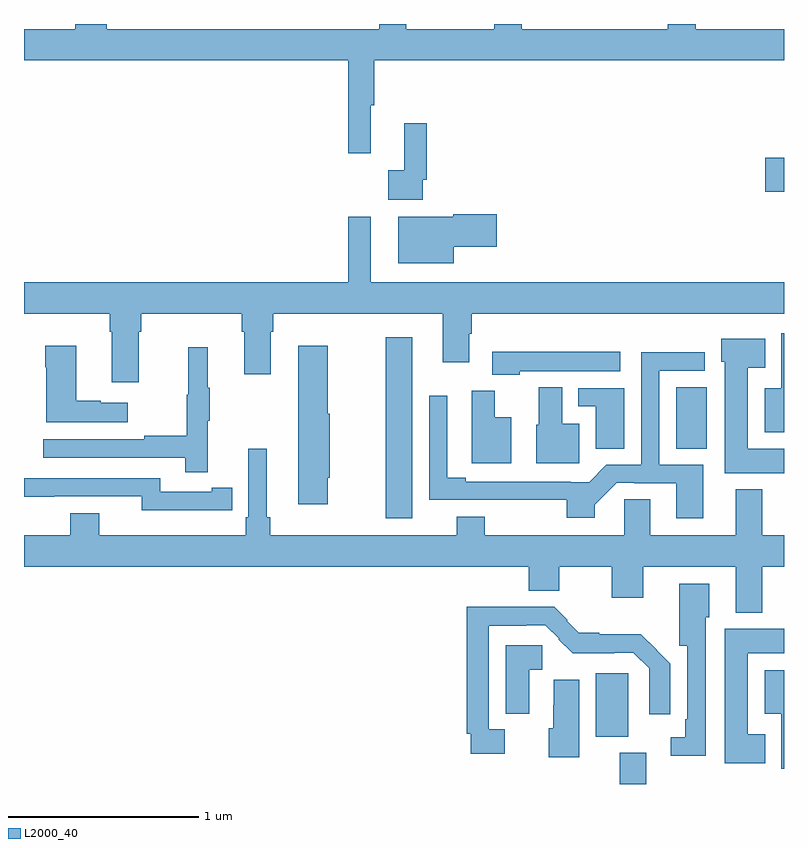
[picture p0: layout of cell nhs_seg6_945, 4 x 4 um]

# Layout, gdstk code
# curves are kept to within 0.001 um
import gdstk
lib = gdstk.Library(unit=1e-6, precision=1e-09)
def R(c, l, rs):  # rectangles x0, y0, x1, y1
    for r in rs: c.add(gdstk.rectangle(r[:2], r[2:], *l))
def P(c, l, *ps):  # polygons
    for p in ps: c.add(gdstk.Polygon(p, *l))
L2000_40 = (2000, 40)

nhs_seg6_945 = lib.new_cell('nhs_seg6_945')
R(nhs_seg6_945, L2000_40, [(172.136,971.5,172.276,971.665), (172.01,971.75,172.18,972.084), (170.905,972.9,171.043,973.852), (172.433,973.264,172.594,973.589), (172.902,974.617,173,974.795)])
P(nhs_seg6_945, L2000_40, [(170.825,975.072),(170.843,975.072),(170.843,975.308),(173,975.308),(173,975.472),(172.536,975.472),(172.536,975.5),(172.388,975.5),(172.388,975.472),(171.621,975.472),(171.621,975.5),(171.474,975.5),(171.474,975.472),(171.012,975.472),(171.012,975.5),(170.87,975.5),(170.87,975.472),(169.435,975.472),(169.435,975.5),(169.271,975.5),(169.271,975.472),(169,975.472),(169,975.308),(170.707,975.308),(170.707,974.82),(170.825,974.82)],
  [(171.099,974.68),(171.119,974.68),(171.119,974.977),(171.002,974.977),(171.002,974.729),(170.916,974.729),(170.916,974.576),(171.099,974.576)],
  [(171.262,974.327),(171.487,974.327),(171.487,974.498),(171.258,974.498),(171.258,974.485),(170.969,974.485),(170.969,974.24),(171.262,974.24)],
  [(169.603,973.88),(169.616,973.88),(169.616,973.976),(170.147,973.976),(170.147,973.88),(170.159,973.88),(170.159,973.656),(170.299,973.656),(170.299,973.88),(170.312,973.88),(170.312,973.976),(171.203,973.976),(171.203,973.719),(171.343,973.719),(171.343,973.87),(171.356,973.87),(171.356,973.976),(173,973.976),(173,974.14),(170.824,974.14),(170.824,974.485),(170.707,974.485),(170.707,974.14),(169,974.14),(169,973.976),(169.451,973.976),(169.451,973.88),(169.463,973.88),(169.463,973.614),(169.603,973.614)],
  [(173,973.873),(172.985,973.873),(172.985,973.582),(172.898,973.582),(172.898,973.352),(173,973.352)],
  [(173,973.264),(172.81,973.264),(172.81,973.691),(172.9,973.691),(172.9,973.843),(172.67,973.843),(172.67,973.722),(172.688,973.722),(172.688,973.136),(173,973.136)],
  [(169.546,973.507),(169.403,973.507),(169.403,973.517),(169.276,973.517),(169.276,973.807),(169.111,973.807),(169.111,973.694),(169.118,973.694),(169.118,973.403),(169.546,973.403)],
  [(170.598,973.113),(170.608,973.113),(170.608,973.449),(170.598,973.449),(170.598,973.807),(170.444,973.807),(170.444,972.972),(170.598,972.972)],
  [(169.967,973.411),(169.978,973.411),(169.978,973.585),(169.967,973.585),(169.967,973.798),(169.864,973.798),(169.864,973.548),(169.857,973.548),(169.857,973.334),(169.633,973.334),(169.633,973.314),(169.101,973.314),(169.101,973.218),(169.849,973.218),(169.849,973.14),(169.967,973.14)],
  [(171.609,973.673),(172.138,973.673),(172.138,973.774),(171.465,973.774),(171.465,973.655),(171.609,973.655)],
  [(172.576,973.179),(172.344,973.179),(172.344,973.674),(172.582,973.674),(172.582,973.772),(172.248,973.772),(172.248,973.179),(172.064,973.179),(171.974,973.089),(171.878,973.089),(171.878,973.092),(171.325,973.092),(171.325,973.112),(171.228,973.112),(171.228,973.543),(171.132,973.543),(171.132,972.996),(171.856,972.995),(171.856,972.902),(172.003,972.902),(172.003,972.97),(172.119,973.086),(172.213,973.086),(172.213,973.083),(172.433,973.083),(172.433,972.9),(172.576,972.9)],
  [(171.922,973.396),(171.832,973.396),(171.832,973.588),(171.71,973.588),(171.71,973.392),(171.695,973.392),(171.695,973.187),(171.922,973.187)],
  [(172.159,973.584),(171.917,973.584),(171.917,973.488),(172.01,973.488),(172.01,973.264),(172.159,973.264)],
  [(171.565,973.429),(171.478,973.429),(171.478,973.57),(171.356,973.57),(171.356,973.187),(171.565,973.187)],
  [(172.885,972.644),(173,972.644),(173,972.808),(172.885,972.808),(172.885,973.051),(172.745,973.051),(172.745,972.808),(172.297,972.808),(172.297,972.998),(172.158,972.998),(172.158,972.808),(171.426,972.808),(171.426,972.907),(171.278,972.907),(171.278,972.808),(170.297,972.808),(170.297,972.904),(170.278,972.904),(170.278,973.264),(170.181,973.264),(170.181,972.904),(170.168,972.904),(170.168,972.808),(169.396,972.808),(169.396,972.925),(169.244,972.925),(169.244,972.808),(169,972.808),(169,972.644),(171.656,972.644),(171.656,972.518),(171.817,972.518),(171.817,972.644),(172.094,972.644),(172.094,972.48),(172.258,972.48),(172.258,972.644),(172.745,972.644),(172.745,972.401),(172.885,972.401)],
  [(169.988,972.942),(170.096,972.942),(170.096,973.058),(169.988,973.058),(169.988,973.038),(169.716,973.038),(169.716,973.11),(169,973.11),(169,973.013),(169.16,973.013),(169.16,973.014),(169.62,973.014),(169.62,972.941),(169.988,972.941)],
  [(172.587,972.378),(172.606,972.378),(172.606,972.553),(172.448,972.553),(172.448,972.228),(172.491,972.228),(172.491,971.842),(172.479,971.842),(172.479,971.745),(172.404,971.745),(172.404,971.648),(172.587,971.648)],
  [(171.53,971.788),(171.447,971.788),(171.447,972.332),(171.644,972.332),(171.644,972.336),(171.744,972.336),(171.816,972.264),(171.813,972.261),(171.887,972.188),(172.106,972.188),(172.106,972.192),(172.206,972.192),(172.29,972.108),(172.29,971.868),(172.402,971.868),(172.402,972.132),(172.247,972.289),(172.027,972.289),(172.027,972.297),(171.919,972.297),(171.857,972.359),(171.861,972.363),(171.791,972.433),(171.331,972.433),(171.331,971.764),(171.351,971.764),(171.351,971.66),(171.53,971.66)],
  [(172.9,971.761),(172.81,971.761),(172.81,972.188),(173,972.188),(173,972.316),(172.688,972.316),(172.688,971.609),(172.9,971.609)],
  [(171.658,972.101),(171.727,972.101),(171.727,972.23),(171.536,972.23),(171.536,971.869),(171.658,971.869)],
  [(173,972.1),(172.898,972.1),(172.898,971.87),(172.985,971.87),(172.985,971.58),(173,971.58)],
  [(171.922,972.049),(171.788,972.049),(171.788,971.915),(171.785,971.915),(171.785,971.793),(171.761,971.793),(171.761,971.642),(171.922,971.642)])

lib.write_gds('nhs_seg6_945.gds')
